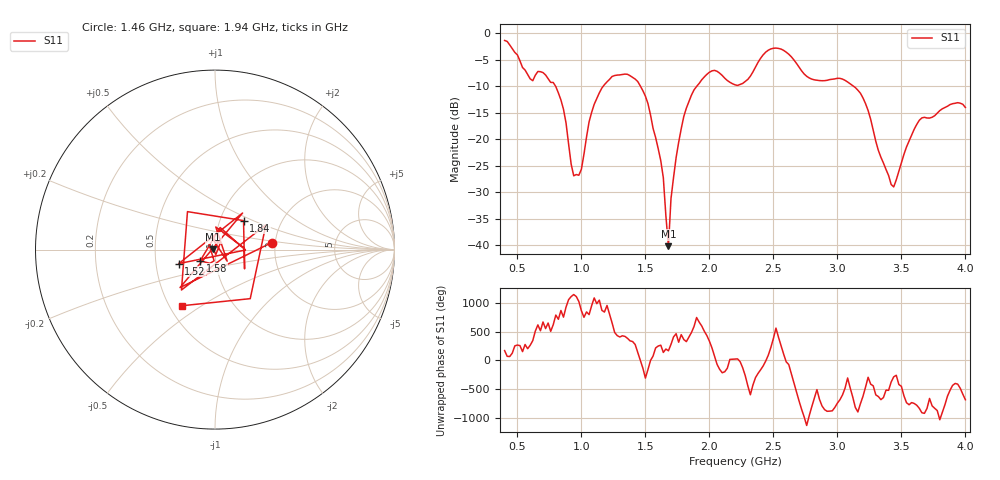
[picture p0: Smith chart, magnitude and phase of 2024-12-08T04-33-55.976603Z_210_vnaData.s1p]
!Created with skrf (http://scikit-rf.org).
# Hz S RI R 50.0
!freq ReS11 ImS11
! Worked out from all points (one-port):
!   181 points, 400 MHz to 4 GHz, reference 50 ohm
!   lowest |S11| = -40.2 dB at 1.68 GHz (marker M1), VSWR 1.02, Z = 49.1 + j0.204 ohm
!   |S11| at or under -10 dB: 798.3 MHz to 1.17 GHz (372.1 MHz wide, 37.8 % of centre); 1.462 GHz to 1.901 GHz (439.9 MHz wide, 26.2 % of centre); 3.126 GHz to end of sweep
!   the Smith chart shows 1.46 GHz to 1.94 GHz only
!   S11 on the Smith chart (normalised r, x): 1.46 GHz: 1.92, +0.17; 1.52 GHz: 0.66, -0.11; 1.58 GHz: 0.84, -0.11; 1.84 GHz: 1.29, +0.44; 1.94 GHz: 0.58, -0.42
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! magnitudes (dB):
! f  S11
! 400 MHz  -1.4
! 600 MHz  -8.6
! 780 MHz  -9.3
! 860 MHz  -14.3
! 940 MHz  -26.9
! 980 MHz  -26.8
! 1.1 GHz  -13.4
! 1.3 GHz  -7.9
! 1.46 GHz  -9.9
! 1.52 GHz  -13.3
! 1.58 GHz  -19.7
! 1.64 GHz  -27.3
! 1.68 GHz  -40.2
! 1.7 GHz  -31.2
! 1.76 GHz  -20.6
! 1.84 GHz  -12.9
! 1.94 GHz  -8.8
! 2.04 GHz  -7.0
! 2.2 GHz  -9.7
! 2.48 GHz  -3.0
! 2.66 GHz  -5.0
! 2.8 GHz  -8.7
! 3.1 GHz  -9.5
! 3.22 GHz  -13.3
! 3.42 GHz  -28.5
! 3.56 GHz  -20.3
! 3.66 GHz  -16.0
! 4 GHz  -14.0
